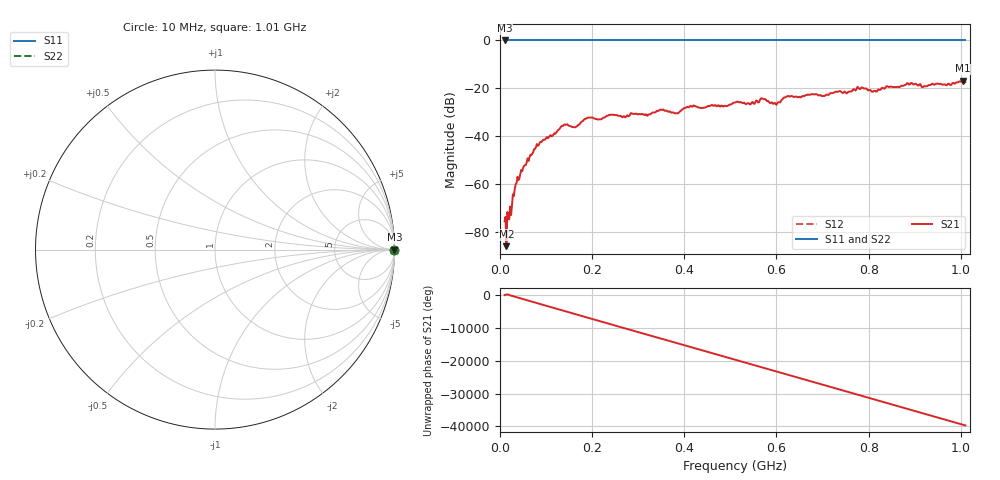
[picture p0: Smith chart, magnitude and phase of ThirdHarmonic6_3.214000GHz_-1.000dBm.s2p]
! 8/17/2025 9:47:46 AM
! C:\ANRITSUVNA\TEMP\TEMP.S2P
! CHANNEL.1
! TR.MEASUREMENT
! RAW.DATA
! RF.CORRECTION.OFF
! AVERAGING.OFF
! IF.BANDWIDTH: 5KHZ
! SWEEPTYPE:  FREQ.SWEEP(Linear)
! Reference Plane Port Info
! PORT:  PORT1  PORT2
! DISTANCE:  0  m  0  m
! TIME:  0  s  0  s
! PHASE.OFFSET:  0  deg.  0  deg.
! LOSS:  0  dB  0  dB
! REF.LOSS:  0  dB  0  dB
! REF.FREQ:  0  Hz  0  Hz
! Power Info
! POWER:  -20  dBm  -20  dBm
! EFF.POWER:  -20  dBm  -20  dBm
! SOURCE.ATTEN:  0  dB  0  dB
! TEST.ATTEN:  0  dB  0  dB
# GHZ S RI R 50.0
! FREQ.GHZ  S11RE  S11IM  S21RE  S21IM  S12RE  S12IM  S22RE  S22IM
!; PortSelection: Port_12
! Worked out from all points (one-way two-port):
!   501 points, 10 MHz to 1.01 GHz, reference 50 ohm
!   highest |S21| = -16.80 dB at 1.004 GHz (marker M1); lowest = -85.9 dB at 14 MHz (marker M2)
!   lowest |S11| = 0.0 dB at 10 MHz (marker M3)
!   |S11| at or under -10 dB: nowhere
!   |S22| runs from 0.0 to 0.0 dB; largest |S21 - S12| = 1.1
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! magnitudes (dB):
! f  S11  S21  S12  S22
! 10 MHz  0.0  -75.5  0.0  0.0
! 14 MHz  0.0  -85.9  0.0  0.0
! 22 MHz  0.0  -69.3  0.0  0.0
! 36 MHz  0.0  -59.5  0.0  0.0
! 78 MHz  0.0  -44.5  0.0  0.0
! 136 MHz  0.0  -35.7  0.0  0.0
! 164 MHz  0.0  -36.2  0.0  0.0
! 178 MHz  0.0  -33.8  0.0  0.0
! 344 MHz  0.0  -29.4  0.0  0.0
! 384 MHz  0.0  -30.4  0.0  0.0
! 416 MHz  0.0  -27.6  0.0  0.0
! 510 MHz  0.0  -25.9  0.0  0.0
! 540 MHz  0.0  -26.2  0.0  0.0
! 570 MHz  0.0  -24.4  0.0  0.0
! 596 MHz  0.0  -26.1  0.0  0.0
! 622 MHz  0.0  -23.4  0.0  0.0
! 678 MHz  0.0  -22.5  0.0  0.0
! 780 MHz  0.0  -20.3  0.0  0.0
! 814 MHz  0.0  -21.0  0.0  0.0
! 844 MHz  0.0  -19.5  0.0  0.0
! 1.004 GHz  0.0  -16.8  0.0  0.0
! 1.01 GHz  0.0  -17.3  0.0  0.0
